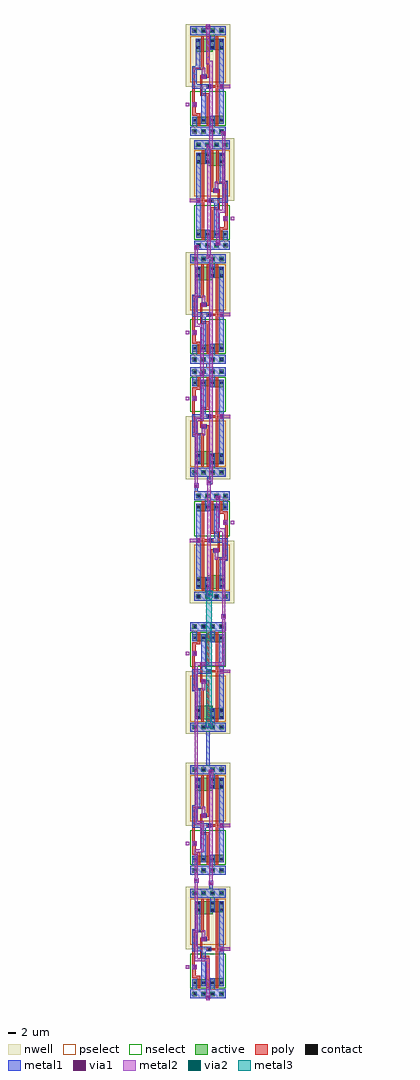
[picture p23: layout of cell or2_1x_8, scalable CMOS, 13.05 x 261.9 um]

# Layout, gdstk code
from math import pi, radians
import gdstk
lib = gdstk.Library(unit=1e-6, precision=1e-09)
def R(c, l, rs):  # rectangles x0, y0, x1, y1
    for r in rs: c.add(gdstk.rectangle(r[:2], r[2:], *l))
def A(c, l, x, y, w, h, nx, ny, dx, dy):  # array of equal rectangles
    R(c, l, [(x+i*dx, y+j*dy, x+i*dx+w, y+j*dy+h) for i in range(nx) for j in range(ny)])
contact = (25, 0)
nwell = (42, 0)
active = (43, 0)
pselect = (44, 0)
nselect = (45, 0)
poly = (46, 0)
metal1 = (49, 0)
via1 = (50, 0)
metal2 = (51, 0)
via2 = (61, 0)
metal3 = (62, 0)

or2_1x = lib.new_cell('or2_1x')
A(or2_1x, contact, 0.9, -0.3, 0.6, 0.6, 4, 2, 2.4, 3)
A(or2_1x, contact, 0.9, 26.7, 0.6, 0.6, 4, 1, 2.4, 0)
R(or2_1x, contact, [(8.1,6.9,8.7,7.5), (4.2,11.7,4.8,12.3), (5.4,14.4,6,15), (0.9,22.2,1.5,22.8), (3.3,22.2,3.9,22.8), (7.2,22.2,7.8,22.8), (0.9,24,1.5,24.6), (3.3,24,3.9,24.6), (7.2,24,7.8,24.6)])
R(or2_1x, nwell, [(-1.2,12,10.8,28.8)])
A(or2_1x, active, 0.6, -0.6, 1.2, 1.2, 4, 2, 2.4, 27)
R(or2_1x, active, [(0.6,2.1,4.2,4.2), (4.2,2.1,9,3.9), (3.6,21.3,4.2,21.9), (4.2,21.3,8.1,24.9), (0.6,21.9,4.2,24.9)])
R(or2_1x, pselect, [(0,-1.2,9.6,1.2), (0,13.2,9.6,25.5)])
R(or2_1x, nselect, [(0,1.5,9.6,10.8), (0,25.8,9.6,28.2)])
R(or2_1x, poly, [(2.1,1.5,2.7,25.5), (4.5,1.5,5.1,10.2), (6.9,1.5,7.5,4.8), (7.5,4.2,9,4.8), (8.1,4.8,9,6.6), (7.8,6.6,9,7.8), (8.4,7.8,9,17.1), (5.1,9.6,6.3,10.2), (6.3,9.6,6.9,15), (3.9,11.4,5.1,12.6), (2.7,11.7,3.9,12.3), (5.1,14.1,6.3,15.3), (4.5,14.4,5.1,25.5), (6,16.5,6.6,25.5), (6.6,16.5,8.4,17.1)])
R(or2_1x, metal1, [(0,-1.2,9.6,1.2), (0,-1.2,9.6,1.2), (3,1.2,4.2,4.2), (7.8,1.2,9,3.9), (0.6,2.1,1.8,24.9), (5.4,2.1,6.6,11.4), (7.8,6.6,9,7.8), (3.9,11.4,9,12.6), (7.8,12.6,9,17.4), (5.1,14.1,6.6,15.3), (6.9,16.5,8.1,24.9), (3,21.9,4.2,25.8), (0,25.8,9.6,28.2), (0,25.8,9.6,28.2)])
R(or2_1x, via1, [(8.1,6.9,8.7,7.5), (0.9,11.7,1.5,12.3), (5.7,14.4,6.3,15)])
R(or2_1x, metal2, [(7.8,6.6,9,7.8), (0.6,11.4,1.8,12.6), (5.4,14.1,6.6,15.3)])

m2_m1_cdns_682222769930 = lib.new_cell('M2_M1_CDNS_682222769930')
R(m2_m1_cdns_682222769930, metal1, [(-0.6,-0.6,0.6,0.6)])
R(m2_m1_cdns_682222769930, via1, [(-0.3,-0.3,0.3,0.3)])
R(m2_m1_cdns_682222769930, metal2, [(-0.6,-0.6,0.6,0.6)])

m3_m2_cdns_682222769931 = lib.new_cell('M3_M2_CDNS_682222769931')
R(m3_m2_cdns_682222769931, metal2, [(-0.6,-0.6,0.6,0.6)])
R(m3_m2_cdns_682222769931, via2, [(-0.3,-0.3,0.3,0.3)])
R(m3_m2_cdns_682222769931, metal3, [(-0.9,-0.9,0.9,0.9)])

m2_m1_cdns_682222769932 = lib.new_cell('M2_M1_CDNS_682222769932')
R(m2_m1_cdns_682222769932, metal1, [(-0.6,-0.6,0.6,0.6)])
R(m2_m1_cdns_682222769932, via1, [(-0.3,-0.3,0.3,0.3)])
R(m2_m1_cdns_682222769932, metal2, [(-0.75,-0.6,0.75,0.6)])

or2_1x_8 = lib.new_cell('or2_1x_8')
R(or2_1x_8, metal2, [(4.5,0,5.4,0.9), (-1.05,8.4,-0.15,9.3), (10.05,13.2,10.95,14.1), (3.3,17.85,4.2,18.75), (-1.05,41.55,-0.15,42.45), (10.05,46.35,10.95,47.25), (3.3,51,4.2,51.9), (3.3,83.1,4.2,84), (10.05,87.75,10.95,88.65), (-1.05,92.55,-0.15,93.45), (6.75,118.2,7.65,119.1), (0,122.85,0.9,123.75), (11.1,127.65,12,128.55), (3.3,151.5,4.2,152.4), (10.05,156.15,10.95,157.05), (-1.05,160.95,-0.15,161.85), (-1.05,178.65,-0.15,179.55), (10.05,183.45,10.95,184.35), (3.3,188.1,4.2,189), (11.1,209.25,12,210.15), (0,214.05,0.9,214.95), (6.75,218.7,7.65,219.6), (-1.05,239.85,-0.15,240.75), (10.05,244.65,10.95,245.55), (3.3,249.3,4.2,250.2), (4.5,261,5.4,261.9)])
or2_1x_8.add(gdstk.FlexPath([(0.45,214.5),(2.55,214.5)], 0.9, ends="extended", simple_path=True, layer=51, datatype=0))  # metal2
or2_1x_8.add(gdstk.FlexPath([(7.2,219.15),(7.2,217.05)], 0.9, ends="extended", simple_path=True, layer=51, datatype=0))  # metal2
or2_1x_8.add(gdstk.FlexPath([(10.5,13.65),(8.4,13.65)], 0.9, ends="extended", simple_path=True, layer=51, datatype=0))  # metal2
or2_1x_8.add(gdstk.FlexPath([(3.75,18.3),(3.75,16.2)], 0.9, ends="extended", simple_path=True, layer=51, datatype=0))  # metal2
or2_1x_8.add(gdstk.FlexPath([(10.5,183.9),(8.4,183.9)], 0.9, ends="extended", simple_path=True, layer=51, datatype=0))  # metal2
or2_1x_8.add(gdstk.FlexPath([(3.75,188.55),(3.75,186.45)], 0.9, ends="extended", simple_path=True, layer=51, datatype=0))  # metal2
or2_1x_8.add(gdstk.FlexPath([(10.5,156.6),(8.4,156.6)], 0.9, ends="extended", simple_path=True, layer=51, datatype=0))  # metal2
or2_1x_8.add(gdstk.FlexPath([(3.75,151.95),(3.75,154.05)], 0.9, ends="extended", simple_path=True, layer=51, datatype=0))  # metal2
or2_1x_8.add(gdstk.FlexPath([(10.5,245.1),(8.4,245.1)], 0.9, ends="extended", simple_path=True, layer=51, datatype=0))  # metal2
or2_1x_8.add(gdstk.FlexPath([(3.75,249.75),(3.75,247.65)], 0.9, ends="extended", simple_path=True, layer=51, datatype=0))  # metal2
or2_1x_8.add(gdstk.FlexPath([(10.5,88.2),(8.4,88.2)], 0.9, ends="extended", simple_path=True, layer=51, datatype=0))  # metal2
or2_1x_8.add(gdstk.FlexPath([(3.75,83.55),(3.75,85.65)], 0.9, ends="extended", simple_path=True, layer=51, datatype=0))  # metal2
or2_1x_8.add(gdstk.FlexPath([(4.95,261.45),(4.95,260.85)], 0.9, ends=(0.45, 0.6), simple_path=True, layer=51, datatype=0))  # metal2
or2_1x_8.add(gdstk.FlexPath([(5.7,228.9),(5.25,228.9)], 0.9, ends=(0.45, 0.6), simple_path=True, layer=51, datatype=0))  # metal2
or2_1x_8.add(gdstk.FlexPath([(5.7,251.55),(5.7,228.9)], 0.9, ends="extended", simple_path=True, layer=51, datatype=0))  # metal2
or2_1x_8.add(gdstk.FlexPath([(4.95,251.55),(5.7,251.55)], 0.9, ends="extended", simple_path=True, layer=51, datatype=0))  # metal2
or2_1x_8.add(gdstk.FlexPath([(4.95,260.85),(4.95,251.55)], 0.9, ends=(0.6, 0.45), simple_path=True, layer=51, datatype=0))  # metal2
or2_1x_8.add(gdstk.FlexPath([(5.7,138.9),(5.25,138.9)], 0.9, ends=(0.45, 0.6), simple_path=True, layer=51, datatype=0))  # metal2
or2_1x_8.add(gdstk.FlexPath([(5.7,199.5),(5.7,138.9)], 0.9, ends="extended", simple_path=True, layer=51, datatype=0))  # metal2
or2_1x_8.add(gdstk.FlexPath([(5.25,199.5),(5.7,199.5)], 0.9, ends=(0.6, 0.45), simple_path=True, layer=51, datatype=0))  # metal2
or2_1x_8.add(gdstk.FlexPath([(5.7,31.35),(5.7,61.2)], 0.9, ends=(0.6, 0.6), simple_path=True, layer=51, datatype=0))  # metal2
or2_1x_8.add(gdstk.FlexPath([(5.25,138.9),(5.25,108.9)], 0.9, ends=(0.6, 0.6), simple_path=True, layer=51, datatype=0))  # metal2
or2_1x_8.add(gdstk.FlexPath([(5.25,228.9),(5.25,199.5)], 0.9, ends=(0.6, 0.6), simple_path=True, layer=51, datatype=0))  # metal2
or2_1x_8.add(gdstk.FlexPath([(4.95,0.45),(4.95,0.9)], 0.9, ends=(0.45, 0.6), simple_path=True, layer=51, datatype=0))  # metal2
or2_1x_8.add(gdstk.FlexPath([(3.3,155.85),(3.3,168)], 0.9, ends=(0.45, 0.6), simple_path=True, layer=51, datatype=0))  # metal2
or2_1x_8.add(gdstk.FlexPath([(1.8,155.85),(3.3,155.85)], 0.9, ends="extended", simple_path=True, layer=51, datatype=0))  # metal2
or2_1x_8.add(gdstk.FlexPath([(1.8,138),(1.8,155.85)], 0.9, ends=(0.6, 0.45), simple_path=True, layer=51, datatype=0))  # metal2
or2_1x_8.add(gdstk.FlexPath([(7.65,211.65),(7.65,203.1)], 0.9, ends=(0.45, 0.6), simple_path=True, layer=51, datatype=0))  # metal2
or2_1x_8.add(gdstk.FlexPath([(9.15,211.65),(7.65,211.65)], 0.9, ends="extended", simple_path=True, layer=51, datatype=0))  # metal2
or2_1x_8.add(gdstk.FlexPath([(9.15,232.5),(9.15,211.65)], 0.9, ends=(0.6, 0.45), simple_path=True, layer=51, datatype=0))  # metal2
or2_1x_8.add(gdstk.FlexPath([(1.8,10.8),(1.8,32.1)], 0.9, ends=(0.45, 0.6), simple_path=True, layer=51, datatype=0))  # metal2
or2_1x_8.add(gdstk.FlexPath([(4.95,10.8),(1.8,10.8)], 0.9, ends="extended", simple_path=True, layer=51, datatype=0))  # metal2
or2_1x_8.add(gdstk.FlexPath([(4.95,0.45),(4.95,10.8)], 0.9, ends="extended", simple_path=True, layer=51, datatype=0))  # metal2
or2_1x_8.add(gdstk.FlexPath([(3.3,181.05),(3.3,168)], 0.9, ends=(0.45, 0.6), simple_path=True, layer=51, datatype=0))  # metal2
or2_1x_8.add(gdstk.FlexPath([(1.8,181.05),(3.3,181.05)], 0.9, ends="extended", simple_path=True, layer=51, datatype=0))  # metal2
or2_1x_8.add(gdstk.FlexPath([(1.8,201.9),(1.8,181.05)], 0.9, ends=(0.6, 0.45), simple_path=True, layer=51, datatype=0))  # metal2
or2_1x_8.add(gdstk.FlexPath([(9.15,90.15),(9.15,102.9)], 0.9, ends=(0.45, 0.6), simple_path=True, layer=51, datatype=0))  # metal2
or2_1x_8.add(gdstk.FlexPath([(1.8,90.15),(9.15,90.15)], 0.9, ends="extended", simple_path=True, layer=51, datatype=0))  # metal2
or2_1x_8.add(gdstk.FlexPath([(1.8,47.55),(1.8,90.15)], 0.9, ends="extended", simple_path=True, layer=51, datatype=0))  # metal2
or2_1x_8.add(gdstk.FlexPath([(3.3,47.55),(1.8,47.55)], 0.9, ends="extended", simple_path=True, layer=51, datatype=0))  # metal2
or2_1x_8.add(gdstk.FlexPath([(3.3,40.05),(3.3,47.55)], 0.9, ends="extended", simple_path=True, layer=51, datatype=0))  # metal2
or2_1x_8.add(gdstk.FlexPath([(1.8,40.05),(3.3,40.05)], 0.9, ends="extended", simple_path=True, layer=51, datatype=0))  # metal2
or2_1x_8.add(gdstk.FlexPath([(1.8,32.1),(1.8,40.05)], 0.9, ends=(0.6, 0.45), simple_path=True, layer=51, datatype=0))  # metal2
or2_1x_8.add(gdstk.FlexPath([(7.65,126.15),(7.65,134.7)], 0.9, ends=(0.45, 0.6), simple_path=True, layer=51, datatype=0))  # metal2
or2_1x_8.add(gdstk.FlexPath([(9.15,126.15),(7.65,126.15)], 0.9, ends="extended", simple_path=True, layer=51, datatype=0))  # metal2
or2_1x_8.add(gdstk.FlexPath([(9.15,102.9),(9.15,126.15)], 0.9, ends=(0.6, 0.45), simple_path=True, layer=51, datatype=0))  # metal2
or2_1x_8.add(gdstk.FlexPath([(0.45,123.3),(2.55,123.3)], 0.9, ends="extended", simple_path=True, layer=51, datatype=0))  # metal2
or2_1x_8.add(gdstk.FlexPath([(10.5,46.8),(8.4,46.8)], 0.9, ends="extended", simple_path=True, layer=51, datatype=0))  # metal2
or2_1x_8.add(gdstk.FlexPath([(7.2,118.65),(7.2,120.75)], 0.9, ends="extended", simple_path=True, layer=51, datatype=0))  # metal2
or2_1x_8.add(gdstk.FlexPath([(3.75,51.45),(3.75,49.35)], 0.9, ends="extended", simple_path=True, layer=51, datatype=0))  # metal2
or2_1x_8.add(gdstk.FlexPath([(4.95,61.05),(4.95,73.95)], 0.9, ends="extended", simple_path=True, layer=49, datatype=0))  # metal1
or2_1x_8.add(gdstk.FlexPath([(5.25,142.35),(5.25,138.9)], 0.9, ends=(0.45, 0.6), simple_path=True, layer=49, datatype=0))  # metal1
or2_1x_8.add(gdstk.FlexPath([(5.7,29.85),(5.7,31.35)], 0.9, ends=(0.45, 0.6), simple_path=True, layer=49, datatype=0))  # metal1
or2_1x_8.add(gdstk.FlexPath([(4.95,172.65),(4.95,167.85)], 0.9, ends="extended", simple_path=True, layer=49, datatype=0))  # metal1
or2_1x_8.add(gdstk.FlexPath([(1.8,136.5),(1.8,138)], 0.9, ends=(0.45, 0.6), simple_path=True, layer=49, datatype=0))  # metal1
or2_1x_8.add(gdstk.FlexPath([(9.15,99.45),(9.15,102.9)], 0.9, ends=(0.45, 0.6), simple_path=True, layer=49, datatype=0))  # metal1
or2_1x_8.add(gdstk.FlexPath([(1.8,32.1),(1.8,35.55)], 0.9, ends=(0.6, 0.45), simple_path=True, layer=49, datatype=0))  # metal1
or2_1x_8.add(gdstk.FlexPath([(5.25,108.9),(5.25,73.8)], 1.5, ends=(0.9, 0.9), simple_path=True, layer=62, datatype=0))  # metal3
or2_1x_8.add(gdstk.Reference(or2_1x, (9.75,34.8), rotation=pi, x_reflection=True))
or2_1x_8.add(gdstk.Reference(or2_1x, (1.2,202.5)))
or2_1x_8.add(gdstk.Reference(or2_1x, (9.75,1.65), rotation=pi, x_reflection=True))
or2_1x_8.add(gdstk.Reference(or2_1x, (9.75,171.9), rotation=pi, x_reflection=True))
or2_1x_8.add(gdstk.Reference(or2_1x, (9.75,168.6), rotation=pi))
or2_1x_8.add(gdstk.Reference(or2_1x, (9.75,233.1), rotation=pi, x_reflection=True))
or2_1x_8.add(gdstk.Reference(or2_1x, (9.75,100.2), rotation=pi))
or2_1x_8.add(gdstk.Reference(or2_1x, (1.2,135.3), x_reflection=True))
or2_1x_8.add(gdstk.Reference(m2_m1_cdns_682222769930, (5.25,138.9)))
or2_1x_8.add(gdstk.Reference(m2_m1_cdns_682222769930, (5.7,61.2)))
or2_1x_8.add(gdstk.Reference(m2_m1_cdns_682222769930, (5.7,31.35)))
or2_1x_8.add(gdstk.Reference(m2_m1_cdns_682222769930, (5.25,228.9)))
or2_1x_8.add(gdstk.Reference(m2_m1_cdns_682222769930, (5.25,199.5)))
or2_1x_8.add(gdstk.Reference(m2_m1_cdns_682222769930, (5.25,108.9)))
or2_1x_8.add(gdstk.Reference(m2_m1_cdns_682222769930, (4.95,260.85)))
or2_1x_8.add(gdstk.Reference(m2_m1_cdns_682222769930, (4.95,0.9)))
or2_1x_8.add(gdstk.Reference(m2_m1_cdns_682222769930, (1.8,138)))
or2_1x_8.add(gdstk.Reference(m2_m1_cdns_682222769930, (9.15,102.9)))
or2_1x_8.add(gdstk.Reference(m2_m1_cdns_682222769930, (7.65,203.1)))
or2_1x_8.add(gdstk.Reference(m2_m1_cdns_682222769930, (9.15,232.5)))
or2_1x_8.add(gdstk.Reference(m2_m1_cdns_682222769930, (1.8,201.9)))
or2_1x_8.add(gdstk.Reference(m2_m1_cdns_682222769930, (1.8,32.1)))
or2_1x_8.add(gdstk.Reference(m2_m1_cdns_682222769930, (7.65,134.7)))
or2_1x_8.add(gdstk.Reference(m2_m1_cdns_682222769930, (3.3,168)))
or2_1x_8.add(gdstk.Reference(m3_m2_cdns_682222769931, (5.25,73.8)))
or2_1x_8.add(gdstk.Reference(m3_m2_cdns_682222769931, (5.25,108.9)))
or2_1x_8.add(gdstk.Reference(m2_m1_cdns_682222769932, (5.25,73.8)))

lib.write_gds('or2_1x_8.gds')
